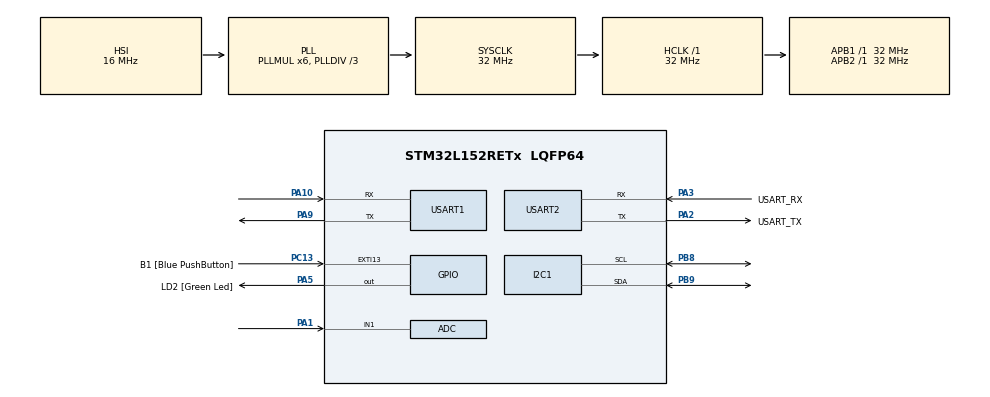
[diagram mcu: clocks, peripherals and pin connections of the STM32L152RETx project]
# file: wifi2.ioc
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ADC.Channel-0\#ChannelRegularConversion=ADC_CHANNEL_1
ADC.NbrOfConversionFlag=1
ADC.Rank-0\#ChannelRegularConversion=1
ADC.Resolution=ADC_RESOLUTION_10B
ADC.SamplingTime-0\#ChannelRegularConversion=ADC_SAMPLETIME_4CYCLES
Mcu.Family=STM32L1
Mcu.Name=STM32L152RETx
Mcu.Package=LQFP64
NVIC.PriorityGroup=NVIC_PRIORITYGROUP_0
NVIC.USART1_IRQn=true\:0\:0\:false\:false\:true\:true\:true\:true
NVIC.USART2_IRQn=true\:0\:0\:false\:false\:true\:true\:true\:true
PA1.Mode=IN1
PA1.Signal=ADC_IN1
PA10.Mode=Asynchronous
PA10.Signal=USART1_RX
PA13.GPIO_Label=TMS
PA13.Mode=Serial_Wire
PA13.Signal=SYS_JTMS-SWDIO
PA14.GPIO_Label=TCK
PA14.Mode=Serial_Wire
PA14.Signal=SYS_JTCK-SWCLK
PA2.GPIO_Label=USART_TX
PA2.Mode=Asynchronous
PA2.Signal=USART2_TX
PA3.GPIO_Label=USART_RX
PA3.Mode=Asynchronous
PA3.Signal=USART2_RX
PA5.GPIO_Label=LD2 [Green Led]
PA5.Signal=GPIO_Output
PA9.Mode=Asynchronous
PA9.Signal=USART1_TX
PB3.GPIO_Label=SWO
PB3.Signal=SYS_JTDO-TRACESWO
PB8.Mode=I2C
PB8.Signal=I2C1_SCL
PB9.Mode=I2C
PB9.Signal=I2C1_SDA
PC13-WKUP2.GPIO_Label=B1 [Blue PushButton]
PC13-WKUP2.Signal=GPXTI13
PC14-OSC32_IN.Mode=LSE-External-Oscillator
PC14-OSC32_IN.Signal=RCC_OSC32_IN
PC15-OSC32_OUT.Mode=LSE-External-Oscillator
PC15-OSC32_OUT.Signal=RCC_OSC32_OUT
PH0-OSC_IN.Mode=HSE-External-Clock-Source
PH0-OSC_IN.Signal=RCC_OSC_IN
PH1-OSC_OUT.Signal=RCC_OSC_OUT
ProjectManager.HeapSize=0x200
ProjectManager.StackSize=0x400
ProjectManager.TargetToolchain=STM32CubeIDE
RCC.48MHZClocksFreq_Value=48000000
RCC.AHBFreq_Value=32000000
RCC.APB1Freq_Value=32000000
RCC.APB1TimFreq_Value=32000000
RCC.APB2Freq_Value=32000000
RCC.APB2TimFreq_Value=32000000
RCC.HCLKFreq_Value=32000000
RCC.HSE_VALUE=8000000
RCC.HSI_VALUE=16000000
RCC.MSI_VALUE=2097000
RCC.PLLDIV=RCC_PLL_DIV3
RCC.PLLMUL=RCC_PLL_MUL6
RCC.RTCClockSelectionVirtual=RCC_RTCCLKSOURCE_LSE
RCC.SYSCLKFreq_VALUE=32000000
RCC.SYSCLKSource=RCC_SYSCLKSOURCE_PLLCLK
RCC.USBOutput=48000000
RCC.VCOOutputFreq_Value=96000000
USART1.VirtualMode=VM_ASYNC
USART2.VirtualMode=VM_ASYNC
VP_TIM2_VS_ClockSourceINT.Mode=Internal
board=NUCLEO-L152RE

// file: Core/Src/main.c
/**
  ******************************************************************************
  * @file           : main.c
  * @brief          : Main program body
  ******************************************************************************
  * @attention
  *
  * Copyright (c) 2023 STMicroelectronics.
  * All rights reserved.
  *
  * This software is licensed under terms that can be found in the LICENSE file
  * in the root directory of this software component.
  * If no LICENSE file comes with this software, it is provided AS-IS.
  *
  ******************************************************************************
  */
/* USER CODE END Header */
#include "main.h"
#include "adc.h"
#include "i2c.h"
#include "tim.h"
#include "usart.h"
/* USER CODE BEGIN Includes */
#include "stdio.h"
#include "lib_lcd.h"
#include "string.h"

rgb_lcd DataStruct;

/* USER CODE END Includes */

void SystemClock_Config(void);

int main(void)
{

  /* MCU Configuration--------------------------------------------------------*/

  /* Reset of all peripherals, Initializes the Flash interface and the Systick. */
  HAL_Init();

  /* Configure the system clock */
  SystemClock_Config();

  /* Initialize all configured peripherals */
  MX_GPIO_Init();
  MX_USART2_UART_Init();
  MX_USART1_UART_Init();
  MX_ADC_Init();
  MX_TIM2_Init();
  MX_I2C1_Init();
  /* USER CODE BEGIN 2 */
  HAL_Init();
  lcd_init(&hi2c1, &DataStruct);

  int n,i = 0;

  char *cmdData = "AT";
  char cmdDataTmp[40];
  sprintf(cmdDataTmp,"%s\r\n",cmdData);
  /* USER CODE END 2 */

  /* Infinite loop */
  while (1)
  {

    /* USER CODE BEGIN 3 */
	  char buffer2[128]={0};
	  HAL_UART_Receive(&huart1, buffer2, 128, 1000);
	  HAL_UART_Transmit (&huart2, (uint8_t *)buffer2, strlen (buffer2), 1000);
	  if (n==7){
		  //clearlcd();
		  lcd_position(&hi2c1,0,0);
		  lcd_print(&hi2c1,&buffer2[12]);
		  lcd_position(&hi2c1,14,0);
		  lcd_print(&hi2c1,"% ");
		  lcd_position(&hi2c1,0,1);
		  lcd_print(&hi2c1,&buffer2[26]);
		  lcd_position(&hi2c1,13,1);
		   lcd_print(&hi2c1,"   ");

	  }
	  if(n==1 || n==4 || n==5 || n==6){ HAL_Delay(100);}
	  if(n==2|| n==3){HAL_Delay(5000);}

switch (n)
{
case 0:

	  HAL_UART_Transmit(&huart1,(uint8_t *)cmdDataTmp,strlen(cmdDataTmp),1000);

		n = 1;

	break;

// serveur:
case 1:
	cmdData = "AT+CWMODE=2";
	sprintf(cmdDataTmp,"%s\r\n",cmdData);
	 HAL_UART_Transmit(&huart1,(uint8_t *)cmdDataTmp,strlen(cmdDataTmp),1000);

		n = 2;
	break;
case 2:
	 cmdData = "AT+RST";
     sprintf(cmdDataTmp,"%s\r\n",cmdData);
	 HAL_UART_Transmit(&huart1,(uint8_t *)cmdDataTmp,strlen(cmdDataTmp),1000);

		n = 3;
	break;
case 3:
	cmdData = "AT+CWSAP=\"ESP8266AAA\",\"1234567890\",6,4";
     sprintf(cmdDataTmp,"%s\r\n",cmdData);
	 HAL_UART_Transmit(&huart1,(uint8_t *)cmdDataTmp,strlen(cmdDataTmp),1000);

		n = 4;
	break;
case 4:
	cmdData = "AT+CIFSR";
     sprintf(cmdDataTmp,"%s\r\n",cmdData);
	 HAL_UART_Transmit(&huart1,(uint8_t *)cmdDataTmp,strlen(cmdDataTmp),1000);
	 n=5;
	break;
case 5:
	cmdData = "AT+CIPMUX=1";
     sprintf(cmdDataTmp,"%s\r\n",cmdData);
	 HAL_UART_Transmit(&huart1,(uint8_t *)cmdDataTmp,strlen(cmdDataTmp),1000);
		n = 6;
	break;
case 6:
	cmdData = "AT+CIPSERVER=1,8080";
     sprintf(cmdDataTmp,"%s\r\n",cmdData);
	 HAL_UART_Transmit(&huart1,(uint8_t *)cmdDataTmp,strlen(cmdDataTmp),1000);

		n = 7;
	break;

//Client:
/*case 1:
	  cmdData = "AT+RST";
	sprintf(cmdDataTmp,"%s\r\n",cmdData);
	 HAL_UART_Transmit(&huart1,(uint8_t *)cmdDataTmp,strlen(cmdDataTmp),1000);

		n = 2;
	break;
case 2:
	cmdData = "AT+CWMODE=1";
     sprintf(cmdDataTmp,"%s\r\n",cmdData);
	 HAL_UART_Transmit(&huart1,(uint8_t *)cmdDataTmp,strlen(cmdDataTmp),1000);

		n = 3;
	break;
case 3:
	cmdData = "AT+CIPMUX=0";
     sprintf(cmdDataTmp,"%s\r\n",cmdData);
	 HAL_UART_Transmit(&huart1,(uint8_t *)cmdDataTmp,strlen(cmdDataTmp),1000);

		n = 4;
	break;
case 4:
	cmdData = "AT+CWJAP=\"ESP8266AB\",\"1234567890\"";
     sprintf(cmdDataTmp,"%s\r\n",cmdData);
	 HAL_UART_Transmit(&huart1,(uint8_t *)cmdDataTmp,strlen(cmdDataTmp),1000);
	 n=5;
	break;
case 5:
	cmdData = "AT+CIPMODE=1";
     sprintf(cmdDataTmp,"%s\r\n",cmdData);
	 HAL_UART_Transmit(&huart1,(uint8_t *)cmdDataTmp,strlen(cmdDataTmp),1000);
		n = 6;
	break;
case 6:
	cmdData = "AT+CIPSTART=\"TCP\",\"192.168.4.1\",8080";
     sprintf(cmdDataTmp,"%s\r\n",cmdData);
	 HAL_UART_Transmit(&huart1,(uint8_t *)cmdDataTmp,strlen(cmdDataTmp),1000);

		n = 7;
	break;

case 7:
	cmdData = "AT+CIPSEND";
     sprintf(cmdDataTmp,"%s\r\n",cmdData);
	 HAL_UART_Transmit(&huart1,(uint8_t *)cmdDataTmp,strlen(cmdDataTmp),1000);

		n = 8;
	break;

case 8:
		cmdData = "nihao hello";
	     sprintf(cmdDataTmp,"%s\r\n",cmdData);
		 HAL_UART_Transmit(&huart1,(uint8_t *)cmdDataTmp,strlen(cmdDataTmp),1000);

			//n = 8;
		break;*/

}

  }
  /* USER CODE END 3 */
}

void SystemClock_Config(void)
{
  RCC_OscInitTypeDef RCC_OscInitStruct = {0};
  RCC_ClkInitTypeDef RCC_ClkInitStruct = {0};

  /** Configure the main internal regulator output voltage
  */
  __HAL_PWR_VOLTAGESCALING_CONFIG(PWR_REGULATOR_VOLTAGE_SCALE1);

  /** Initializes the RCC Oscillators according to the specified parameters
  * in the RCC_OscInitTypeDef structure.
  */
  RCC_OscInitStruct.OscillatorType = RCC_OSCILLATORTYPE_HSI;
  RCC_OscInitStruct.HSIState = RCC_HSI_ON;
  RCC_OscInitStruct.HSICalibrationValue = RCC_HSICALIBRATION_DEFAULT;
  RCC_OscInitStruct.PLL.PLLState = RCC_PLL_ON;
  RCC_OscInitStruct.PLL.PLLSource = RCC_PLLSOURCE_HSI;
  RCC_OscInitStruct.PLL.PLLMUL = RCC_PLL_MUL6;
  RCC_OscInitStruct.PLL.PLLDIV = RCC_PLL_DIV3;
  if (HAL_RCC_OscConfig(&RCC_OscInitStruct) != HAL_OK)
  {
    Error_Handler();
  }

  /** Initializes the CPU, AHB and APB buses clocks
  */
  RCC_ClkInitStruct.ClockType = RCC_CLOCKTYPE_HCLK|RCC_CLOCKTYPE_SYSCLK
                              |RCC_CLOCKTYPE_PCLK1|RCC_CLOCKTYPE_PCLK2;
  RCC_ClkInitStruct.SYSCLKSource = RCC_SYSCLKSOURCE_PLLCLK;
  RCC_ClkInitStruct.AHBCLKDivider = RCC_SYSCLK_DIV1;
  RCC_ClkInitStruct.APB1CLKDivider = RCC_HCLK_DIV1;
  RCC_ClkInitStruct.APB2CLKDivider = RCC_HCLK_DIV1;

  if (HAL_RCC_ClockConfig(&RCC_ClkInitStruct, FLASH_LATENCY_1) != HAL_OK)
  {
    Error_Handler();
  }
}

void Error_Handler(void)
{
  __disable_irq();
  while (1)
  {
  }
}
